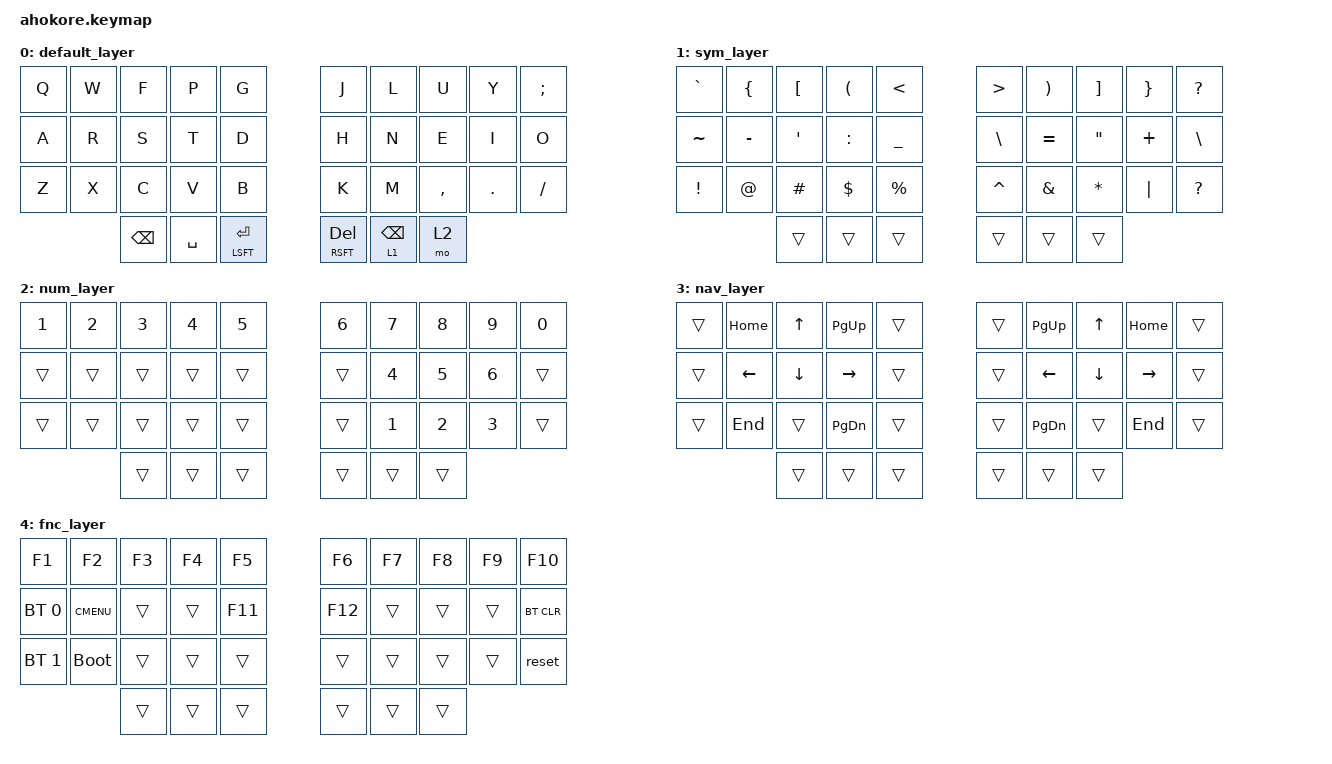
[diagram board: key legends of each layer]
/*
 * Copyright (c) 2020 The ZMK Contributors
 *
 * SPDX-License-Identifier: MIT
 */

#include <behaviors.dtsi>
#include <dt-bindings/zmk/keys.h>
#include <dt-bindings/zmk/bt.h>

/ {

behaviors {
      hm: homerow_mods {
        compatible = "zmk,behavior-hold-tap";
        label = "HOMEROW_MODS";
        #binding-cells = <2>;
        tapping_term_ms = <300>;
        flavor = "tap-preferred";
        bindings = <&kp>, <&kp>;
    };
      sf: holdtap_shift {
        compatible = "zmk,behavior-hold-tap";
        label = "HOLDTAP_SHIFT";
        #binding-cells = <2>;
        tapping_term_ms = <300>;
        flavor = "hold-preferred";
        bindings = <&kp>, <&kp>;
    };
      ltt: layertap_layer {
        compatible = "zmk,behavior-hold-tap";
        label = "LAYERTAP_LAYER";
        #binding-cells = <2>;
        tapping_term_ms = <300>;
        flavor = "hold-preferred";
        bindings = <&mo>, <&kp>;
    };

    combos {
    compatible = "zmk,combos";
    combo_1 {
        timeout-ms = <50>;
        key-positions = <0 10>;
        bindings = <&kp N1>;
        layers = <0>;
    };
    combo_2 {
        timeout-ms = <50>;
        key-positions = <1 11>;
        bindings = <&kp N2>;
        layers = <0>;
    };
    combo_3 {
        timeout-ms = <50>;
        key-positions = <2 12>;
        bindings = <&kp N3>;
        layers = <0>;
    };
    combo_4 {
        timeout-ms = <50>;
        key-positions = <3 13>;
        bindings = <&kp N4>;
        layers = <0>;
    };
    combo_5 {
        timeout-ms = <50>;
        key-positions = <4 14>;
        bindings = <&kp N5>;
        layers = <0>;
    };
    combo_6 {
        timeout-ms = <50>;
        key-positions = <5 15>;
        bindings = <&kp N6>;
        layers = <0>;
    };
    combo_7 {
        timeout-ms = <50>;
        key-positions = <6 16>;
        bindings = <&kp N7>;
        layers = <0>;
    };
    combo_8 {
        timeout-ms = <50>;
        key-positions = <7 17>;
        bindings = <&kp N8>;
        layers = <0>;
    };
    combo_9 {
        timeout-ms = <50>;
        key-positions = <8 18>;
        bindings = <&kp N9>;
        layers = <0>;
    };
    combo_0 {
        timeout-ms = <50>;
        key-positions = <9 19>;
        bindings = <&kp N0>;
        layers = <0>;
    };
    combo_lalt {
        timeout-ms = <50>;
        key-positions = <21 22>;
        bindings = <&kp LALT>;
    };
    combo_lgui {
        timeout-ms = <50>;
        key-positions = <22 23>;
        bindings = <&kp LGUI>;
    };
     combo_lctrl {
        timeout-ms = <50>;
        key-positions = <23 24>;
        bindings = <&kp LCTRL>;
    };
     combo_lctrlalt {
        timeout-ms = <50>;
        key-positions = <21 22 23 24>;
        bindings = <&kp LC(LALT)>;
    };
     combo_lctrlgui {
        timeout-ms = <50>;
        key-positions = <22 23 24>;
        bindings = <&kp LC(LGUI)>;
    };
    combo_ralt {
        timeout-ms = <50>;
        key-positions = <27 28>;
        bindings = <&kp RALT>;
    };
    combo_rgui {
        timeout-ms = <50>;
        key-positions = <26 27>;
        bindings = <&kp RGUI>;
    };
     combo_rctrl {
        timeout-ms = <50>;
        key-positions = <25 26>;
        bindings = <&kp RCTRL>;
    };
     combo_rctrlalt {
        timeout-ms = <50>;
        key-positions = <25 26 27 28>;
        bindings = <&kp RC(RALT)>;
    };
     combo_rctrlgui {
        timeout-ms = <50>;
        key-positions = <25 26 27>;
        bindings = <&kp RC(RGUI)>;
    };
    combo_bspc {
        timeout-ms = <50>;
        key-positions = <8 9>;
        bindings = <&kp BKSP>;
        layers = <0 1>;
    };
    combo_tab {
        timeout-ms = <50>;
        key-positions = <3 4>;
        bindings = <&kp TAB>;
        layers = <0>;
    };
    combo_caps {
        timeout-ms = <50>;
        key-positions = <5 6>;
        bindings = <&kp CAPS>;
        layers = <0>;
    };
    combo_ins {
        timeout-ms = <50>;
        key-positions = <15 16>;
        bindings = <&kp INS>;
        layers = <0>;
    };
    combo_bkupctrl {
        timeout-ms = <50>;
        key-positions = <30 31>;
        bindings = <&kp LCTRL>;
        layers = <0>;
    };
    combo_esc {
        timeout-ms = <50>;
        key-positions = <13 14>;
        bindings = <&kp ESC>;
        layers = <0>;
    };
    combo_nav {
        timeout-ms = <50>;
        key-positions = <31 32>;
        bindings = <&mo 3>;
        layers = <0>;
    };
    combo_fncesc {
        timeout-ms = <50>;
        key-positions = <31 34>;
        bindings = <&lt 4 ESC>;
    };
    combo_ttab {
        timeout-ms = <50>;
        key-positions = <33 34>;
        bindings = <&kp TAB>;
        layers = <0>;
    };
    combo_play {
        timeout-ms = <75>;
        key-positions = <30 31 32 33 34 35>;
        bindings = <&kp C_PP>;
    };
};

};
        keymap {
                compatible = "zmk,keymap";

                default_layer {
// -----------------------------------------------------------------------------------------
// |  Q  |  W  |  F  |  P  |  G   |  J  |  L   |  U  |  Y  |  ;  |
// |  A  |  R  |  S  |  T  |  D   |  H  |  N   |  E  |  I  |  O  |
// |  Z  |  X  |  C  |  V  |  B   |  N  |  M   |  ,  |  .  |  /  |
//             | BSP | SPC |  ENT | DEL | BSP  | NUM |
                        bindings = <
   &kp Q &kp W &kp F &kp P &kp G   &kp J &kp L  &kp U     &kp Y   &kp SEMI
   &kp A &kp R &kp S &kp T &kp D   &kp H &kp N  &kp E     &kp I   &kp O
   &kp Z &kp X &kp C &kp V &kp B   &kp K &kp M  &kp COMMA &kp DOT &kp FSLH
   &kp BSPC &kp SPC &sf LSFT RET   &hm RSFT DEL &ltt 1 BSPC &mo 2
                        >;
                };

                sym_layer {
// -----------------------------------------------------------------------------------------
// |  `  |  [  |  {  |  (  |  <  |  >  |  )  |  }  |  ]  |  ?  |
// |  ~  |  -  |  '  |  :  |  _  |  \  |  =  |  "  |  +  |  \  |
// |  !  |  @  |  #  |  $  |  %  |  ^  |  &  |  *  |  |  |  ?  |
//             | BSP | SPC |  ENT | DEL | BSP  | NUM |
                        bindings = <
   &kp GRAVE &kp LBRC  &kp LBKT &kp LPAR    &kp LT      &kp GT    &kp RPAR  &kp RBKT &kp RBRC  &kp QMARK
   &kp TILDE &kp MINUS &kp SQT  &kp COLON   &kp UNDER   &kp BSLH  &kp EQUAL &kp DQT  &kp PLUS  &kp BSLH
   &kp EXCL  &kp AT    &kp HASH &kp DOLLAR  &kp PRCNT   &kp CARET &kp AMPS  &kp STAR &kp PIPE  &kp QMARK
   &trans    &trans    &trans    &trans      &trans      &trans
                        >;
                };
                
                num_layer {
// -----------------------------------------------------------------------------------------
// |  1  |  2  |  3  |  4  |  5  |  6  |  7  |  8  |  9  |  0  |
// |     |     |     |     |     |     |  4  |  5  |  6  |     |
// |     |     |     |     |     |     |  1  |  2  |  3  |     |
//             | BSP | SPC |  ENT | DEL | BSP  | NUM |
                        bindings = <
   &kp N1 &kp N2 &kp N3 &kp N4 &kp N5 &kp N6 &kp N7 &kp N8 &kp N9 &kp N0
   &trans &trans &trans &trans &trans &trans &kp N4 &kp N5 &kp N6 &trans
   &trans &trans &trans &trans &trans &trans &kp N1 &kp N2 &kp N3 &trans
   &trans    &trans    &trans    &trans      &trans      &trans
                        >;
                };
                
                nav_layer {
// -----------------------------------------------------------------------------------------
// |     | HOME |  UP  | PGUP |     |      | PGUP |  UP  | HOME |      |
// |     | LEFT | DOWN |RIGHT |     |      | LEFT | DOWN |RIGHT |      |
// |     | END  |      | PGDN |     |      | PGDN |      | END  |      |
//             | BSP | SPC |  ENT | DEL | BSP  | NUM |
                        bindings = <
   &trans &kp HOME &kp UP   &kp PG_UP &trans &trans &kp PG_UP &kp UP   &kp HOME  &trans
   &trans &kp LEFT &kp DOWN &kp RIGHT &trans &trans &kp LEFT  &kp DOWN &kp RIGHT &trans
   &trans &kp END  &trans   &kp PG_DN &trans &trans &kp PG_DN &trans   &kp END   &trans
   &trans   &trans    &trans     &trans   &trans   &trans
                        >;
                };
                
                fnc_layer {
// -----------------------------------------------------------------------------------------
// |     |     |     |      |     |      |      |      |      |     |
// | BT0 |CMENU|     |      |     |      |      |      |      |BTCLR|
// | BT1 | BOOT|     |      |     |      |      |      |      | RST |
//             | BSP | SPC |  ENT | DEL | BSP  | NUM |
                        bindings = <
   &kp F1       &kp F2      &kp F3  &kp F4 &kp F5     &kp F6  &kp F7  &kp F8  &kp F9 &kp F10
   &bt BT_SEL 0 &kp K_CMENU &trans  &trans &kp F11    &kp F12 &trans  &trans  &trans &bt BT_CLR
   &bt BT_SEL 1 &bootloader &trans  &trans &trans     &trans  &trans  &trans  &trans &reset
   &trans   &trans    &trans     &trans   &trans   &trans
                        >;
                };

        };
};
